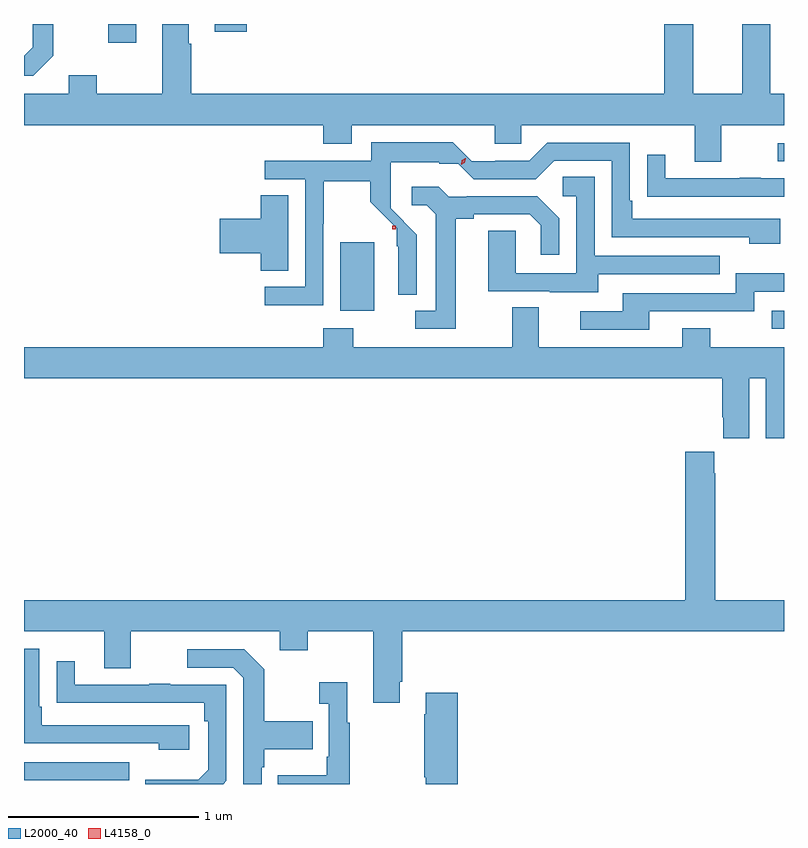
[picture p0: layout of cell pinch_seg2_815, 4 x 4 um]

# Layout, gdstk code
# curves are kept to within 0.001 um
import gdstk
lib = gdstk.Library(unit=1e-6, precision=1e-09)
def R(c, l, rs):  # rectangles x0, y0, x1, y1
    for r in rs: c.add(gdstk.rectangle(r[:2], r[2:], *l))
def P(c, l, *ps):  # polygons
    for p in ps: c.add(gdstk.Polygon(p, *l))
L2000_40 = (2000, 40)
L4158_0 = (4158, 0)

pinch_seg2_815 = lib.new_cell('pinch_seg2_815')
R(pinch_seg2_815, L2000_40, [(672.927,593.571,673.481,593.667), (676.863,595.947,676.927,596.043), (674.591,596.042,674.77,596.404), (676.893,596.829,676.927,596.925), (673.371,597.453,673.519,597.552), (673.931,597.51,674.099,597.552)])
P(pinch_seg2_815, L2000_40, [(676.597,597.02),(676.927,597.02),(676.927,597.184),(676.854,597.184),(676.854,597.552),(676.706,597.552),(676.706,597.184),(676.45,597.184),(676.45,597.552),(676.298,597.552),(676.298,597.184),(673.808,597.184),(673.808,597.449),(673.795,597.449),(673.795,597.552),(673.655,597.552),(673.655,597.184),(673.311,597.184),(673.311,597.283),(673.163,597.283),(673.163,597.184),(672.927,597.184),(672.927,597.02),(674.501,597.02),(674.501,596.921),(674.653,596.921),(674.653,597.02),(675.404,597.02),(675.404,596.922),(675.543,596.922),(675.543,597.02),(676.457,597.02),(676.457,596.826),(676.597,596.826)],
  [(673.081,597.385),(673.081,597.552),(672.972,597.552),(672.972,597.429),(672.927,597.384),(672.927,597.279),(672.975,597.279)],
  [(674.502,596.5),(674.505,596.5),(674.505,596.724),(674.749,596.724),(674.749,596.617),(674.889,596.477),(674.889,596.383),(674.898,596.383),(674.898,596.128),(674.994,596.128),(674.994,596.442),(674.856,596.581),(674.856,596.825),(675.113,596.825),(675.113,596.817),(675.212,596.817),(675.293,596.736),(675.621,596.736),(675.717,596.832),(676.02,596.832),(676.02,596.43),(676.745,596.43),(676.745,596.396),(676.906,596.396),(676.906,596.526),(676.129,596.526),(676.129,596.623),(676.116,596.623),(676.116,596.928),(675.681,596.928),(675.585,596.832),(675.408,596.832),(675.408,596.829),(675.284,596.829),(675.184,596.929),(674.754,596.929),(674.754,596.832),(674.193,596.832),(674.193,596.736),(674.406,596.736),(674.406,596.169),(674.193,596.169),(674.193,596.071),(674.502,596.071)],
  [(676.927,596.739),(676.805,596.739),(676.805,596.744),(676.693,596.744),(676.693,596.739),(676.303,596.739),(676.303,596.863),(676.207,596.863),(676.207,596.644),(676.309,596.644),(676.309,596.643),(676.927,596.643)],
  [(675.949,596.235),(676.589,596.235),(676.589,596.331),(675.93,596.331),(675.93,596.747),(675.762,596.747),(675.762,596.646),(675.834,596.646),(675.834,596.241),(675.516,596.241),(675.516,596.465),(675.371,596.465),(675.371,596.145),(675.695,596.145),(675.695,596.141),(675.949,596.141)],
  [(675.199,596.528),(675.295,596.528),(675.295,596.55),(675.59,596.55),(675.647,596.493),(675.647,596.337),(675.744,596.337),(675.744,596.53),(675.628,596.646),(675.256,596.646),(675.256,596.643),(675.162,596.643),(675.11,596.695),(674.967,596.695),(674.967,596.598),(675.048,596.598),(675.095,596.551),(675.095,596.043),(674.985,596.043),(674.985,595.947),(675.199,595.947)],
  [(674.317,596.651),(674.174,596.651),(674.174,596.528),(673.956,596.528),(673.956,596.345),(674.174,596.345),(674.174,596.254),(674.317,596.254)],
  [(676.219,596.04),(676.77,596.04),(676.77,596.142),(676.927,596.142),(676.927,596.239),(676.674,596.239),(676.674,596.136),(676.079,596.136),(676.079,596.04),(675.855,596.04),(675.855,595.944),(676.219,595.944)],
  [(676.744,595.688),(676.832,595.688),(676.832,595.371),(676.927,595.371),(676.927,595.852),(676.539,595.852),(676.539,595.951),(676.391,595.951),(676.391,595.852),(675.637,595.852),(675.637,596.06),(675.497,596.06),(675.497,595.852),(674.661,595.852),(674.661,595.951),(674.501,595.951),(674.501,595.852),(672.927,595.852),(672.927,595.688),(676.601,595.688),(676.601,595.483),(676.607,595.483),(676.607,595.371),(676.744,595.371)],
  [(674.905,594.091),(674.918,594.091),(674.918,594.356),(676.927,594.356),(676.927,594.52),(676.566,594.52),(676.566,595.187),(676.561,595.187),(676.561,595.3),(676.406,595.3),(676.406,594.52),(672.927,594.52),(672.927,594.356),(673.349,594.356),(673.349,594.162),(673.489,594.162),(673.489,594.356),(674.273,594.356),(674.273,594.257),(674.421,594.257),(674.421,594.356),(674.765,594.356),(674.765,593.979),(674.905,593.979)],
  [(673.798,593.862),(673.021,593.862),(673.021,593.959),(673.008,593.959),(673.008,594.264),(672.927,594.264),(672.927,593.766),(673.637,593.766),(673.637,593.732),(673.798,593.732)],
  [(674.178,593.639),(674.191,593.639),(674.191,593.735),(674.447,593.735),(674.447,593.883),(674.191,593.883),(674.191,594.155),(674.085,594.261),(673.785,594.261),(673.785,594.165),(674.028,594.165),(674.082,594.111),(674.082,593.552),(674.178,593.552)],
  [(673.992,593.568),(673.992,594.075),(673.697,594.075),(673.697,594.08),(673.585,594.08),(673.585,594.075),(673.195,594.075),(673.195,594.199),(673.099,594.199),(673.099,593.98),(673.876,593.979),(673.876,593.882),(673.896,593.882),(673.896,593.628),(673.843,593.575),(673.566,593.575),(673.566,593.552),(673.976,593.552)],
  [(674.641,593.875),(674.629,593.875),(674.629,594.088),(674.481,594.088),(674.481,593.975),(674.532,593.975),(674.532,593.695),(674.52,593.695),(674.52,593.599),(674.263,593.599),(674.263,593.552),(674.641,593.552)],
  [(675.209,594.031),(675.041,594.031),(675.041,593.918),(675.034,593.918),(675.034,593.587),(675.041,593.587),(675.041,593.552),(675.209,593.552)])
R(pinch_seg2_815, L4158_0, [(674.864,596.471,674.884,596.491)])
P(pinch_seg2_815, L4158_0, [(675.229,596.812),(675.229,596.812),(675.231,596.834),(675.25,596.846),(675.251,596.846),(675.251,596.846),(675.248,596.823),(675.229,596.812)])

lib.write_gds('pinch_seg2_815.gds')
